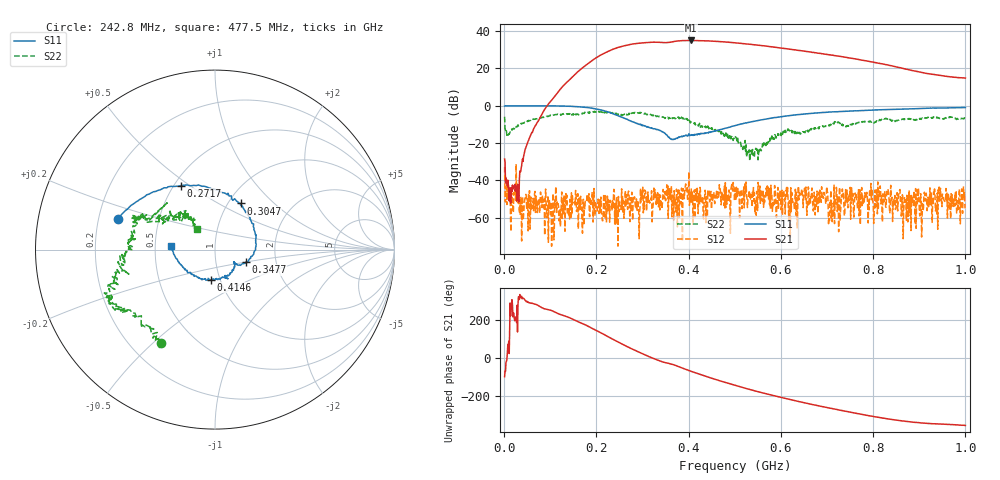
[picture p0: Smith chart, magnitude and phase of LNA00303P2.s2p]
! Created with skrf 1.9.0 (http://scikit-rf.org).
# Hz S RI R 50.0
!freq ReS11 ImS11 ReS21 ImS21 ReS12 ImS12 ReS22 ImS22
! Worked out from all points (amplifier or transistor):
!   1001 points, 1 MHz to 1 GHz, reference 50 ohm
!   highest |S21| = 35.0 dB at 404.6 MHz (marker M1)
!   |S21| within 3 dB of that: 257.7 MHz to 566.1 MHz (308.4 MHz wide, 74.9 % of centre) (the widest 1 of 2)
!   unconditionally stable (mu >= 1): 3.626 MHz to 85.75 MHz; 238.8 MHz to 400.2 MHz; 400.9 MHz to end of sweep (the widest 3 of 26)
!   at 166.8 MHz: K = 1.87, MAG = 31.8 dB, |S12| = -54.7 dB
!   at 500.5 MHz: K = 1.61, MAG = 34.4 dB, |S12| = -44.2 dB
!   at 1 GHz: K = 7.26, MAG = 23.3 dB, |S12| = -54.9 dB
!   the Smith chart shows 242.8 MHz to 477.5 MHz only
!   S11 on the Smith chart (normalised r, x): 242.8 MHz: 0.28, +0.14; 271.7 MHz: 0.54, +0.46; 304.7 MHz: 1.14, +0.64; 347.7 MHz: 1.40, -0.20; 414.6 MHz: 0.91, -0.31; 477.5 MHz: 0.61, +0.02
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1000000  0.9857 0.00919  -0.00453 -0.0372  -0.0173 0.0151  0.3711 0.3463
1.08892e8  0.5068 -0.8548  -0.8198 -1.535  0.000142 0.000623  0.4301 -0.3675
1.67833e8  -0.2599 -0.891  -9.971 -0.4609  -0.00115 0.00158  0.0473 -0.6227
2.09791e8  -0.683 -0.3592  -15.38 17.02  -0.00221 -0.00284  -0.1854 -0.6617
2.42758e8  -0.5407 0.1698  0.2995 34.86  0.000687 -0.00176  -0.3022 -0.5229
2.71729e8  -0.1913 0.3562  25.31 35.2  -0.000345 -0.00196  -0.4828 -0.341
3.04696e8  0.144 0.2568  46.69 14.71  -0.00303 0.00468  -0.5947 -0.1965
3.34666e8  0.2258 0.00926  49.08 -10.54  -0.000782 0.0018  -0.5085 -0.0545
3.47653e8  0.1726 -0.0694  45.46 -19.02  -0.00318 0.000882  -0.4785 0.0154
3.75625e8  0.1068 -0.0808  40.13 -36.54  -0.000569 -7.22e-05  -0.4326 0.1622
4.04596e8  0.0317 -0.1589  20.68 -52.19  0.000274 0.00269  -0.3269 0.1719
4.14586e8  -0.0206 -0.1671  12.82 -54.28  0.00433 0.00166  -0.2693 0.1507
4.45555e8  -0.1542 -0.1174  -10.82 -53.16  0.00269 -0.000146  -0.1578 0.1971
4.77523e8  -0.2446 0.0182  -29.99 -41.75  0.00694 -0.00116  -0.1016 0.1126
5.005e8  -0.2604 0.1358  -38.72 -29.95  -0.00362 0.005  -0.0829 0.1335
5.39461e8  -0.1827 0.3334  -42.58 -8.72  0.00318 -0.00193  -0.047 -0.00744
5.84416e8  0.00863 0.4773  -36 10.53  0.00105 -0.00229  -0.1161 -0.0546
6.25375e8  0.1973 0.5242  -24.66 20.27  -0.00239 -0.00101  -0.1653 -0.1333
6.67333e8  0.3982 0.4859  -12.6 23.81  -0.000465 -0.00629  -0.2462 -0.0652
7.53247e8  0.6696 0.2788  4.464 18.1  -0.00323 -0.00552  -0.3162 0.00939
8.34166e8  0.7898 0.027  9.077 8.127  -0.00398 -5.26e-05  -0.4331 0.0571
1e9  0.7359 -0.515  5.485 0.7884  0.000792 0.00162  -0.2294 0.3961
